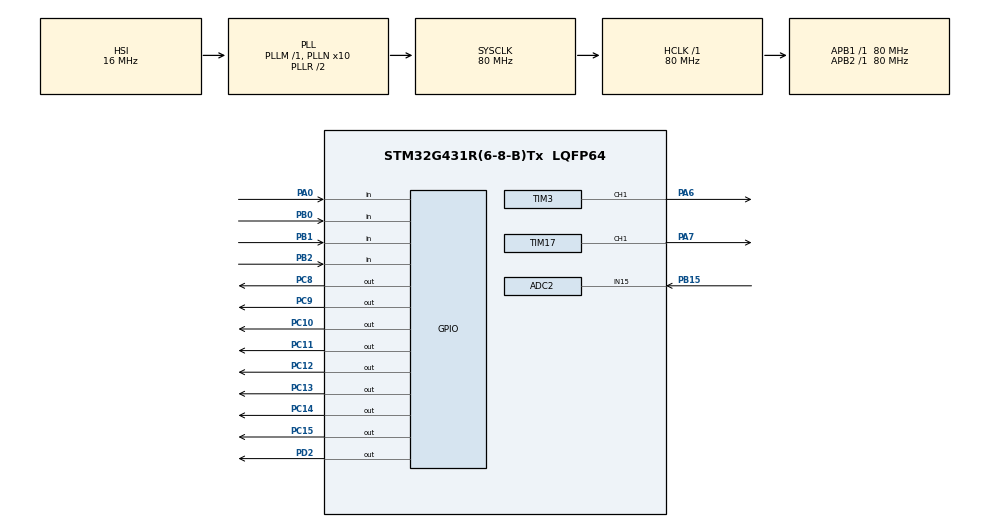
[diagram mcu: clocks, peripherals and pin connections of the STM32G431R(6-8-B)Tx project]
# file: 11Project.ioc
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ADC2.Channel-0\#ChannelRegularConversion=ADC_CHANNEL_15
ADC2.ContinuousConvMode=ENABLE
ADC2.NbrOfConversionFlag=1
ADC2.OffsetNumber-0\#ChannelRegularConversion=ADC_OFFSET_NONE
ADC2.Rank-0\#ChannelRegularConversion=1
ADC2.SamplingTime-0\#ChannelRegularConversion=ADC_SAMPLETIME_2CYCLES_5
Mcu.Family=STM32G4
Mcu.Name=STM32G431R(6-8-B)Tx
Mcu.Package=LQFP64
NVIC.PriorityGroup=NVIC_PRIORITYGROUP_4
NVIC.TIM3_IRQn=true\:0\:0\:false\:false\:true\:true\:true
PA0.Signal=GPIO_Input
PA13.Mode=Serial_Wire
PA13.Signal=SYS_JTMS-SWDIO
PA14.Mode=Serial_Wire
PA14.Signal=SYS_JTCK-SWCLK
PA6.Signal=S_TIM3_CH1
PA7.Signal=S_TIM17_CH1
PB0.Signal=GPIO_Input
PB1.Signal=GPIO_Input
PB15.Mode=IN15-Single-Ended
PB15.Signal=ADC2_IN15
PB2.Signal=GPIO_Input
PC10.Signal=GPIO_Output
PC11.Signal=GPIO_Output
PC12.Signal=GPIO_Output
PC13.Signal=GPIO_Output
PC14-OSC32_IN.Signal=GPIO_Output
PC15-OSC32_OUT.Signal=GPIO_Output
PC8.Signal=GPIO_Output
PC9.Signal=GPIO_Output
PD2.Signal=GPIO_Output
PF0-OSC_IN.Mode=HSE-External-Oscillator
PF0-OSC_IN.Signal=RCC_OSC_IN
PF1-OSC_OUT.Mode=HSE-External-Oscillator
PF1-OSC_OUT.Signal=RCC_OSC_OUT
ProjectManager.HeapSize=0x200
ProjectManager.StackSize=0x400
ProjectManager.TargetToolchain=MDK-ARM V5
RCC.ADC12Freq_Value=80000000
RCC.AHBFreq_Value=80000000
RCC.APB1Freq_Value=80000000
RCC.APB1TimFreq_Value=80000000
RCC.APB2Freq_Value=80000000
RCC.APB2TimFreq_Value=80000000
RCC.CortexFreq_Value=80000000
RCC.EXTERNAL_CLOCK_VALUE=12288000
RCC.HCLKFreq_Value=80000000
RCC.HSE_VALUE=24000000
RCC.HSI48_VALUE=48000000
RCC.HSI_VALUE=16000000
RCC.LSE_VALUE=32768
RCC.PLLN=10
RCC.SYSCLKFreq_VALUE=80000000
RCC.SYSCLKSource=RCC_SYSCLKSOURCE_PLLCLK
RCC.USBFreq_Value=80000000
RCC.VCOOutputFreq_Value=160000000
SH.S_TIM17_CH1.0=TIM17_CH1,PWM Generation1 CH1
SH.S_TIM3_CH1.0=TIM3_CH1,PWM Generation1 CH1
TIM17.Channel=TIM_CHANNEL_1
TIM17.PeriodNoDither=5000
TIM17.Prescaler=79
TIM17.PulseNoDither_1=500
TIM3.Channel-PWM\ Generation1\ CH1=TIM_CHANNEL_1
TIM3.PeriodNoDither=10000
TIM3.Prescaler=79
TIM3.PulseNoDither_1=1000
VP_SYS_VS_DBSignals.Mode=DisableDeadBatterySignals
VP_TIM17_VS_ClockSourceINT.Mode=Enable_Timer
VP_TIM3_VS_ClockSourceINT.Mode=Internal
board=custom

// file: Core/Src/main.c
/* USER CODE BEGIN Header */
/**
  ******************************************************************************
  * @file           : main.c
  * @brief          : Main program body
  ******************************************************************************
  * @attention
  *
  * <h2><center>&copy; Copyright (c) 2023 STMicroelectronics.
  * All rights reserved.</center></h2>
  *
  * This software component is licensed by ST under BSD 3-Clause license,
  * the "License"; You may not use this file except in compliance with the
  * License. You may obtain a copy of the License at:
  *                        opensource.org/licenses/BSD-3-Clause
  *
  ******************************************************************************
  */
/* USER CODE END Header */
#include "main.h"
#include "adc.h"
#include "tim.h"
#include "gpio.h"

/* USER CODE BEGIN Includes */
#include "lcd.h"
#include "i2c_hal.h"
#include "stdio.h"
#include "string.h"

/* USER CODE END Includes */

/* USER CODE BEGIN PD */

#define KEY1 HAL_GPIO_ReadPin(GPIOB,GPIO_PIN_0)
#define KEY2 HAL_GPIO_ReadPin(GPIOB,GPIO_PIN_1)
#define KEY3 HAL_GPIO_ReadPin(GPIOB,GPIO_PIN_2)
#define KEY4 HAL_GPIO_ReadPin(GPIOA,GPIO_PIN_0)
/* USER CODE END PD */

/* USER CODE BEGIN PV */
//key
u8 key_val,key_down,key_up,key_old;

//lcd
u8 sta_lcd;
u8 ptr[30];
float ao2;
//led
u8 led_in;
u8 mode;

u8 pa6 = 10, pa7 = 10;
/* USER CODE END PV */

void SystemClock_Config(void);

/* USER CODE BEGIN 0 */
u8 key_scan()
{
	if((KEY1 == 0)||(KEY2 == 0)||(KEY3 == 0)||(KEY4 == 0))
	{
		HAL_Delay(10);
		if(KEY1 == 0) return 1;
		else if(KEY2 == 0) return 2;
		else if(KEY3 == 0) return 3;
		else if(KEY4 == 0) return 4;
	}return 0;
}

void led_dis(u8 led)
{
	HAL_GPIO_WritePin(GPIOC,0xff00,GPIO_PIN_SET);
	HAL_GPIO_WritePin(GPIOD,GPIO_PIN_2,GPIO_PIN_SET);
	HAL_GPIO_WritePin(GPIOD,GPIO_PIN_2,GPIO_PIN_RESET);

	HAL_GPIO_WritePin(GPIOC,led<<8,GPIO_PIN_RESET);
	HAL_GPIO_WritePin(GPIOD,GPIO_PIN_2,GPIO_PIN_SET);
	HAL_GPIO_WritePin(GPIOD,GPIO_PIN_2,GPIO_PIN_RESET);
}

void key_Proc()
{
	key_val = key_scan();
	key_down = key_val&(key_val^key_old);
	key_up = ~key_val&(key_val^key_old);
	key_old = key_val;

	switch (key_up)
  {
  	case 1:
		{
			sta_lcd = ~sta_lcd;
			LCD_Clear(Black);
  		break;
		}
		case 2:
		{
			if(mode)
			{
				pa6 += 10;
				if(pa6 == 100)
					pa6 = 10;
			}
  		break;
		}
		case 3:
		{
			if(mode)
			{
				pa7 += 10;
				if(pa7 == 100)
					pa7 = 10;
			}
  		break;
		}
		case 4:
		{
			mode = ~mode;
  		break;
		}
  }
}
float adc2;
void work_Proc()
{
//	uint16_t adc2 = 0;
	HAL_ADC_Start(&hadc2);
	adc2 = HAL_ADC_GetValue(&hadc2);
	ao2 = adc2*3.3f/4096;
//
//	sprintf((char*)ptr,"    V:%.2f", ao2);
//		LCD_DisplayStringLine(Line8,(u8*)ptr);
//
}

void lcd_Proc()
{
	if(!sta_lcd)
	{
		sprintf((char*)ptr,"      Data");
		LCD_DisplayStringLine(Line1,(u8*)ptr);
		sprintf((char*)ptr,"    V:%.2f", ao2);
		LCD_DisplayStringLine(Line2,(u8*)ptr);
		if(mode)
		{
			sprintf((char*)ptr,"    Mode:MANU");
			LCD_DisplayStringLine(Line4,(u8*)ptr);
		}else
		{
			sprintf((char*)ptr,"    Mode:AUTO");
			LCD_DisplayStringLine(Line4,(u8*)ptr);
		}
	}else{
		sprintf((char*)ptr,"      Para");
		LCD_DisplayStringLine(Line1,(u8*)ptr);
		if(mode)
		{
			sprintf((char*)ptr,"    PA6:%d", pa6);
			LCD_DisplayStringLine(Line2,(u8*)ptr);
			sprintf((char*)ptr,"    PA7:%d", pa7);
			LCD_DisplayStringLine(Line4,(u8*)ptr);
		}else
		{
			sprintf((char*)ptr,"    PA6:%d", pa6);
			LCD_DisplayStringLine(Line2,(u8*)ptr);
			sprintf((char*)ptr,"    PA7:%d", pa7);
			LCD_DisplayStringLine(Line4,(u8*)ptr);
		}
	}
}

void led_Proc()
{
	if(!mode)
		led_in |= 0x01;
	else
		led_in &= ~(0x01);

	if(!sta_lcd)
		led_in |= 0x02;
	else
		led_in &= ~(0x02);

	led_dis(led_in);
}

void Pwm_Proc()
{
	if(!mode)
	{

		if(ao2 == 0)
		{
			__HAL_TIM_SetCompare(&htim3,TIM_CHANNEL_1, 10000);
			__HAL_TIM_SetCompare(&htim3,TIM_CHANNEL_2, 5000);
		}else if(ao2 == 3.3f)
		{
			__HAL_TIM_SetCompare(&htim3,TIM_CHANNEL_1, 0);
			__HAL_TIM_SetCompare(&htim3,TIM_CHANNEL_2, 0);
		}else
		{
			pa6 = (ao2 / 3.3f) * 100;
			pa7 = (ao2 / 3.3f) * 100;
			__HAL_TIM_SetCompare(&htim3,TIM_CHANNEL_1, pa6 * 100);
			__HAL_TIM_SetCompare(&htim3,TIM_CHANNEL_2, pa7 * 50);
		}
	}else{
		__HAL_TIM_SetCompare(&htim3,TIM_CHANNEL_1, pa6 * 100);
		__HAL_TIM_SetCompare(&htim3,TIM_CHANNEL_2, pa7 * 50);
	}
}

/* USER CODE END 0 */

int main(void)
{

  /* MCU Configuration--------------------------------------------------------*/

  /* Reset of all peripherals, Initializes the Flash interface and the Systick. */
  HAL_Init();

  /* Configure the system clock */
  SystemClock_Config();

  /* Initialize all configured peripherals */
  MX_GPIO_Init();
  MX_TIM3_Init();
  MX_ADC2_Init();
  MX_TIM17_Init();
  /* USER CODE BEGIN 2 */
	LCD_Init();
	LCD_Clear(Black);
	led_dis(0);
	LCD_SetBackColor(Black);
	LCD_SetTextColor(White);
//
//	HAL_TIM_PWM_Start_IT(&htim3, TIM_CHANNEL_1);
//	HAL_TIM_PWM_Start_IT(&htim3, TIM_CHANNEL_2);

  /* USER CODE END 2 */

  /* Infinite loop */
  while (1)
  {

    /* USER CODE BEGIN 3 */
		sprintf((char*)ptr,"    V:%.2f", ao2);
		LCD_DisplayStringLine(Line8,(u8*)ptr);
//		key_Proc();
//		lcd_Proc();
//		led_Proc();
//		Pwm_Proc();
		work_Proc();

  }
  /* USER CODE END 3 */
}

void SystemClock_Config(void)
{
  RCC_OscInitTypeDef RCC_OscInitStruct = {0};
  RCC_ClkInitTypeDef RCC_ClkInitStruct = {0};
  RCC_PeriphCLKInitTypeDef PeriphClkInit = {0};

  /** Configure the main internal regulator output voltage
  */
  HAL_PWREx_ControlVoltageScaling(PWR_REGULATOR_VOLTAGE_SCALE1);
  /** Initializes the RCC Oscillators according to the specified parameters
  * in the RCC_OscInitTypeDef structure.
  */
  RCC_OscInitStruct.OscillatorType = RCC_OSCILLATORTYPE_HSI;
  RCC_OscInitStruct.HSIState = RCC_HSI_ON;
  RCC_OscInitStruct.HSICalibrationValue = RCC_HSICALIBRATION_DEFAULT;
  RCC_OscInitStruct.PLL.PLLState = RCC_PLL_ON;
  RCC_OscInitStruct.PLL.PLLSource = RCC_PLLSOURCE_HSI;
  RCC_OscInitStruct.PLL.PLLM = RCC_PLLM_DIV1;
  RCC_OscInitStruct.PLL.PLLN = 10;
  RCC_OscInitStruct.PLL.PLLP = RCC_PLLP_DIV2;
  RCC_OscInitStruct.PLL.PLLQ = RCC_PLLQ_DIV2;
  RCC_OscInitStruct.PLL.PLLR = RCC_PLLR_DIV2;
  if (HAL_RCC_OscConfig(&RCC_OscInitStruct) != HAL_OK)
  {
    Error_Handler();
  }
  /** Initializes the CPU, AHB and APB buses clocks
  */
  RCC_ClkInitStruct.ClockType = RCC_CLOCKTYPE_HCLK|RCC_CLOCKTYPE_SYSCLK
                              |RCC_CLOCKTYPE_PCLK1|RCC_CLOCKTYPE_PCLK2;
  RCC_ClkInitStruct.SYSCLKSource = RCC_SYSCLKSOURCE_PLLCLK;
  RCC_ClkInitStruct.AHBCLKDivider = RCC_SYSCLK_DIV1;
  RCC_ClkInitStruct.APB1CLKDivider = RCC_HCLK_DIV1;
  RCC_ClkInitStruct.APB2CLKDivider = RCC_HCLK_DIV1;

  if (HAL_RCC_ClockConfig(&RCC_ClkInitStruct, FLASH_LATENCY_2) != HAL_OK)
  {
    Error_Handler();
  }
  /** Initializes the peripherals clocks
  */
  PeriphClkInit.PeriphClockSelection = RCC_PERIPHCLK_ADC12;
  PeriphClkInit.Adc12ClockSelection = RCC_ADC12CLKSOURCE_SYSCLK;
  if (HAL_RCCEx_PeriphCLKConfig(&PeriphClkInit) != HAL_OK)
  {
    Error_Handler();
  }
}

void Error_Handler(void)
{
  __disable_irq();
  while (1)
  {
  }
}

/************************ (C) COPYRIGHT STMicroelectronics *****END OF FILE****/
